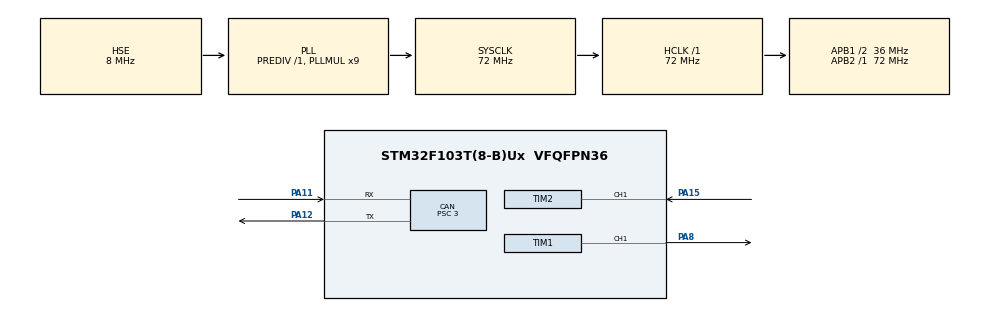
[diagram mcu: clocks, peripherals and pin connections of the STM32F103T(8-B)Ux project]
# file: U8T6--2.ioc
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CAN.BS1=CAN_BS1_8TQ
CAN.BS2=CAN_BS2_3TQ
CAN.CalculateBaudRate=999999
CAN.CalculateTimeBit=1000
CAN.CalculateTimeQuantum=83.33333333333334
CAN.Prescaler=3
Mcu.Family=STM32F1
Mcu.Name=STM32F103T(8-B)Ux
Mcu.Package=VFQFPN36
NVIC.CAN1_RX1_IRQn=true\:2\:0\:true\:false\:true\:true\:true\:true
NVIC.CAN1_SCE_IRQn=true\:3\:0\:true\:false\:true\:true\:true\:true
NVIC.PriorityGroup=NVIC_PRIORITYGROUP_4
NVIC.TIM2_IRQn=true\:1\:0\:true\:false\:true\:true\:true\:true
NVIC.TIM3_IRQn=true\:1\:0\:true\:false\:true\:true\:true\:true
PA11.Mode=CAN_Activate
PA11.Signal=CAN_RX
PA12.Mode=CAN_Activate
PA12.Signal=CAN_TX
PA13.Mode=Serial_Wire
PA13.Signal=SYS_JTMS-SWDIO
PA14.Mode=Serial_Wire
PA14.Signal=SYS_JTCK-SWCLK
PA15.GPIO_PuPd=GPIO_PULLUP
PA15.Signal=S_TIM2_CH1_ETR
PA8.Signal=S_TIM1_CH1
PD0-OSC_IN.Mode=HSE-External-Oscillator
PD0-OSC_IN.Signal=RCC_OSC_IN
PD1-OSC_OUT.Mode=HSE-External-Oscillator
PD1-OSC_OUT.Signal=RCC_OSC_OUT
ProjectManager.HeapSize=0x200
ProjectManager.StackSize=0x400
ProjectManager.TargetToolchain=MDK-ARM V5.32
RCC.AHBFreq_Value=72000000
RCC.APB1CLKDivider=RCC_HCLK_DIV2
RCC.APB1Freq_Value=36000000
RCC.APB1TimFreq_Value=72000000
RCC.APB2Freq_Value=72000000
RCC.APB2TimFreq_Value=72000000
RCC.HCLKFreq_Value=72000000
RCC.PLLMUL=RCC_PLL_MUL9
RCC.PLLSourceVirtual=RCC_PLLSOURCE_HSE
RCC.SYSCLKFreq_VALUE=72000000
RCC.SYSCLKSource=RCC_SYSCLKSOURCE_PLLCLK
RCC.USBFreq_Value=72000000
SH.S_TIM1_CH1.0=TIM1_CH1,PWM Generation1 CH1
SH.S_TIM2_CH1_ETR.0=TIM2_CH1,Input_Capture1_from_TI1
TIM1.AutoReloadPreload=TIM_AUTORELOAD_PRELOAD_ENABLE
TIM1.Channel-PWM\ Generation1\ CH1=TIM_CHANNEL_1
TIM1.Period=1894
TIM1.Pulse-PWM\ Generation1\ CH1=947
TIM2.Channel-Input_Capture1_from_TI1=TIM_CHANNEL_1
TIM2.Prescaler=71
TIM3.AutoReloadPreload=TIM_AUTORELOAD_PRELOAD_ENABLE
TIM3.Period=1000
TIM3.Prescaler=71
VP_TIM1_VS_ClockSourceINT.Mode=Internal
VP_TIM2_VS_ClockSourceINT.Mode=Internal
VP_TIM3_VS_ClockSourceINT.Mode=Internal
board=custom

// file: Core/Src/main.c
/* USER CODE BEGIN Header */
/**
  ******************************************************************************
  * @file           : main.c
  * @brief          : Main program body
  ******************************************************************************
  * @attention
  *
  * Copyright (c) 2026 STMicroelectronics.
  * All rights reserved.
  *
  * This software is licensed under terms that can be found in the LICENSE file
  * in the root directory of this software component.
  * If no LICENSE file comes with this software, it is provided AS-IS.
  *
  ******************************************************************************
  */
/* USER CODE END Header */
#include "main.h"
#include "can.h"
#include "tim.h"
#include "gpio.h"

/* USER CODE BEGIN Includes */
#include "infrared.h"
#include "can.h"
#include <string.h>
/* USER CODE END Includes */

/* USER CODE BEGIN PV */
// 外部声明CAN接收环形队列
#define CAN_RX_QUEUE_SIZE  4
typedef struct {
    uint32_t can_id;
    uint8_t  data[8];
    uint8_t  dlc;
} CanRxSlot_t;

extern volatile CanRxSlot_t can_rx_queue[CAN_RX_QUEUE_SIZE];
extern volatile uint8_t can_rx_head;
extern volatile uint8_t can_rx_tail;
extern volatile uint8_t can_rx_count;

// ===== 运行时模块ID（可通过CMD_SET_ID远程配置） =====
volatile uint8_t my_module_id = IR_MODULE_ID;  // 默认取infrared.h中的值

// ===== CAN→红外 发送队列（FIFO，防丢帧） =====
#define CAN_TO_IR_QUEUE_SIZE  4
typedef struct {
    uint8_t data[8];
    uint8_t valid;
} CanToIrSlot_t;
CanToIrSlot_t can_to_ir_queue[CAN_TO_IR_QUEUE_SIZE];
volatile uint8_t can_to_ir_head = 0;
volatile uint8_t can_to_ir_tail = 0;
volatile uint8_t can_to_ir_count = 0;

// ===== 红外→CAN 转发队列（FIFO，防丢帧） =====
#define IR_TO_CAN_QUEUE_SIZE   4
typedef struct {
    uint32_t can_id;
    uint8_t  data[8];
    uint8_t  dlc;
    uint8_t  valid;
} IrToCanSlot_t;
IrToCanSlot_t ir_to_can_queue[IR_TO_CAN_QUEUE_SIZE];
volatile uint8_t ir_to_can_head = 0;
volatile uint8_t ir_to_can_tail = 0;
volatile uint8_t ir_to_can_count = 0;

// ===== CAN多模块错峰参数 =====
// 按模块ID低位顺序延迟响应，避免多模块同时抢占总线(hal_delay)
// 0x10→0ms, 0x11→3ms, 0x12→6ms ...
#define IR_CAN_STAGGER_BASE_MS  3

// ===== 调试计数器 =====
volatile uint32_t dbg_can_cmd_received = 0;
volatile uint32_t dbg_can_data_received = 0;
volatile uint32_t dbg_ir_tx_from_can = 0;
volatile uint32_t dbg_ir_rx_data = 0;
volatile uint32_t dbg_ir_rx_ack = 0;
volatile uint32_t dbg_can_data_sent = 0;
volatile uint32_t dbg_can_ack_sent = 0;

// ===== 可靠发送状态机（非阻塞，用于 RELIABLE_DATA 帧） =====
#define IR_RELIABLE_MAX_RETRY   2       // 红外重传次数
#define IR_RELIABLE_ACK_TIMEOUT 100    // 等待红外ACK超时(ms)

typedef enum {
    IR_RELIABLE_IDLE = 0,       // 空闲
    IR_RELIABLE_SENDING,        // 红外正在发送
    IR_RELIABLE_WAIT_ACK,       // 等待红外ACK
    IR_RELIABLE_RETRY_WAIT,     // 重试间隔等待
} IR_Reliable_State_t;

typedef struct {
    IR_Reliable_State_t state;
    uint8_t  data[8];              // 待发送数据
    uint8_t  retry_count;          // 已重试次数
    uint32_t state_enter_time;     // 进入当前状态的时间
} IR_Reliable_Context_t;

IR_Reliable_Context_t ir_reliable = {0};
/* USER CODE END PV */

void SystemClock_Config(void);

int main(void)
{

  /* MCU Configuration--------------------------------------------------------*/

  /* Reset of all peripherals, Initializes the Flash interface and the Systick. */
  HAL_Init();

  /* Configure the system clock */
  SystemClock_Config();

  /* Initialize all configured peripherals */
  MX_GPIO_Init();
  MX_TIM2_Init();
  MX_TIM3_Init();
  MX_TIM1_Init();
  MX_CAN_Init();
  /* USER CODE BEGIN 2 */
  IR_Init();
  /* USER CODE END 2 */

  /* Infinite loop */
  /* USER CODE BEGIN WHILE */
// ===== 下位机 main loop =====
// 协议说明（CAN ID编码方案C）：
//   CAN ID = (type<<8) | module_id,  type: 1=CMD / 2=DATA / 3=ACK
//   CMD帧  ID=0x1[module_id]: [模块ID(1B)][命令码(1B)][数据×6] → 下位机回复ACK
//   DATA帧 ID=0x2[module_id]: [数据×8] 纯数据              → 下位机转发到红外(9B含CRC)
//   ACK帧  ID=0x3[module_id]: [0xA5][0xA5]                → 上位机确认收到
//   IR数据帧: [8B数据][1B CRC] = 9B(72bit)               → 下位机转发到CAN

while (1)
{
    IR_CheckRxTimeout();

    // ====================================================================
    //  第1步: CAN接收 → 处理/入队（不阻塞，不丢帧）
    // ====================================================================
    if (can_rx_count > 0)
    {
        volatile CanRxSlot_t *slot = &can_rx_queue[can_rx_tail];

        if (IR_HOST_IS_CMD_FRAME(slot->can_id) && slot->dlc >= 2)
        {
            uint8_t rx_module_id = IR_HOST_CAN_ID_GET_MODULE(slot->can_id);

            // 匹配自身ID 或 广播ID(0x00) 都响应
            if (rx_module_id == my_module_id || rx_module_id == 0x00)
            {
                // ★ 错峰：按模块ID延迟响应，避免多模块同时抢占总线
                HAL_Delay((my_module_id & 0x0F) * IR_CAN_STAGGER_BASE_MS);

                uint8_t cmd = slot->data[1];
                dbg_can_cmd_received++;

                if (cmd == IR_HOST_CMD_PING || cmd == IR_HOST_CMD_READ_STATUS)
                {
                    CAN_SendFrame(IR_HOST_CAN_ID_ACK(my_module_id),
                                  (uint8_t[]){IR_ACK_MAGIC, IR_ACK_MAGIC}, 2);
                    dbg_can_ack_sent++;
                }
                else if (cmd == IR_HOST_CMD_RESET)
                {
                    IR_ResetBuffer();
                    CAN_SendFrame(IR_HOST_CAN_ID_ACK(my_module_id),
                                  (uint8_t[]){IR_ACK_MAGIC, IR_ACK_MAGIC}, 2);
                    dbg_can_ack_sent++;
                }
                else if (cmd == IR_HOST_CMD_SET_ID && slot->dlc >= 3)
                {
                    uint8_t new_id = slot->data[2];
                    if (new_id >= 0x01 && new_id <= 0xFE)
                    {
                        my_module_id = new_id;
                    }
                    CAN_SendFrame(IR_HOST_CAN_ID_ACK(my_module_id),
                                  (uint8_t[]){IR_ACK_MAGIC, IR_ACK_MAGIC}, 2);
                    dbg_can_ack_sent++;
                }
            }
        }
        else if (IR_HOST_IS_DATA_FRAME(slot->can_id) && slot->dlc >= 1)
        {
            uint8_t rx_module_id = IR_HOST_CAN_ID_GET_MODULE(slot->can_id);

            // DATA帧 → 单播或广播(0x00)都接受，回CAN ACK + 入队等红外空闲时转发
            if ((rx_module_id == my_module_id || rx_module_id == 0x00) && can_to_ir_count < CAN_TO_IR_QUEUE_SIZE)
            {
                // ★ 错峰：按模块ID延迟响应ACK，避免多模块同时抢占总线
                HAL_Delay((my_module_id & 0x0F) * IR_CAN_STAGGER_BASE_MS);

                // 先回CAN ACK，告诉上位机已收到
                CAN_SendFrame(IR_HOST_CAN_ID_ACK(my_module_id),
                              (uint8_t[]){IR_ACK_MAGIC, IR_ACK_MAGIC}, 2);
                dbg_can_ack_sent++;

                CanToIrSlot_t *ir_slot = &can_to_ir_queue[can_to_ir_head];
                memset(ir_slot->data, 0, 8);
                memcpy(ir_slot->data, (const void *)slot->data, slot->dlc > 8 ? 8 : slot->dlc);
                ir_slot->valid = 1;
                can_to_ir_head = (can_to_ir_head + 1) % CAN_TO_IR_QUEUE_SIZE;
                can_to_ir_count++;
                dbg_can_data_received++;
            }
        }
        else if (IR_HOST_IS_RELIABLE_DATA_FRAME(slot->can_id) && slot->dlc >= 1)
        {
            uint8_t rx_module_id = IR_HOST_CAN_ID_GET_MODULE(slot->can_id);

            // RELIABLE_DATA帧 → 不立即回CAN ACK，等红外投递成功后再回
            if ((rx_module_id == my_module_id || rx_module_id == 0x00) &&
                ir_reliable.state == IR_RELIABLE_IDLE)
            {
                // ★ 错峰延迟
                HAL_Delay((my_module_id & 0x0F) * IR_CAN_STAGGER_BASE_MS);

                // 保存数据，启动可靠发送状态机
                memset(ir_reliable.data, 0, 8);
                memcpy(ir_reliable.data, (const void *)slot->data, slot->dlc > 8 ? 8 : slot->dlc);
                ir_reliable.retry_count = 0;
                ir_reliable.state = IR_RELIABLE_SENDING;
                ir_reliable.state_enter_time = HAL_GetTick();
                dbg_can_data_received++;
            }
        }

        // 出队（关中断保护，防止ISR的count++被覆盖）
        __disable_irq();
        can_rx_tail = (can_rx_tail + 1) % CAN_RX_QUEUE_SIZE;
        can_rx_count--;
        __enable_irq();
    }

    // ====================================================================
    //  第2步: CAN→红外 出队发送（红外空闲时才发）
    // ====================================================================
    if (can_to_ir_count > 0 && !IR_IsTXBusy())
    {
        CanToIrSlot_t *slot = &can_to_ir_queue[can_to_ir_tail];
        if (slot->valid)
        {
            if (IR_SendData(slot->data, 8))
            {
                slot->valid = 0;
                can_to_ir_tail = (can_to_ir_tail + 1) % CAN_TO_IR_QUEUE_SIZE;
                can_to_ir_count--;
                dbg_ir_tx_from_can++;
            }
        }
    }

    // ====================================================================
    //  第2.5步: 可靠发送状态机（非阻塞，用于 RELIABLE_DATA 帧）
    //  流程: 发红外 → 等ACK → 成功回CAN ACK / 失败重试 → 超限回CAN NACK
    // ====================================================================
    switch (ir_reliable.state)
    {
        case IR_RELIABLE_IDLE:
            break;

        case IR_RELIABLE_SENDING:
            // 尝试发送红外
            if (!IR_IsTXBusy())
            {
                // 清除之前的ACK标志
                ir_ack_received_flag = 0;
                ir_ack_status = 0;

                if (IR_SendData(ir_reliable.data, 8))
                {
                    ir_reliable.state = IR_RELIABLE_WAIT_ACK;
                    ir_reliable.state_enter_time = HAL_GetTick();
                    dbg_ir_tx_from_can++;
                }
            }
            break;

        case IR_RELIABLE_WAIT_ACK:
            // 检查红外ACK
            if (ir_ack_received_flag)
            {
                ir_ack_received_flag = 0;
                if (ir_ack_status == 1)
                {
                    // 红外ACK → 回CAN ACK，投递成功
                    CAN_SendFrame(IR_HOST_CAN_ID_ACK(my_module_id),
                                  (uint8_t[]){IR_ACK_MAGIC, IR_ACK_MAGIC}, 2);
                    dbg_can_ack_sent++;
                    ir_reliable.state = IR_RELIABLE_IDLE;
                }
                else
                {
                    // 红外NACK → 重试
                    ir_reliable.retry_count++;
                    if (ir_reliable.retry_count <= IR_RELIABLE_MAX_RETRY)
                    {
                        ir_reliable.state = IR_RELIABLE_RETRY_WAIT;
                        ir_reliable.state_enter_time = HAL_GetTick();
                    }
                    else
                    {
                        // 重试耗尽 → 回CAN NACK
                        CAN_SendFrame(IR_HOST_CAN_ID_ACK(my_module_id),
                                      (uint8_t[]){IR_NACK_MAGIC, IR_NACK_MAGIC}, 2);
                        dbg_can_ack_sent++;
                        ir_reliable.state = IR_RELIABLE_IDLE;
                    }
                }
            }
            else
            {
                // 超时检查
                if ((HAL_GetTick() - ir_reliable.state_enter_time) >= IR_RELIABLE_ACK_TIMEOUT)
                {
                    ir_reliable.retry_count++;
                    if (ir_reliable.retry_count <= IR_RELIABLE_MAX_RETRY)
                    {
                        ir_reliable.state = IR_RELIABLE_RETRY_WAIT;
                        ir_reliable.state_enter_time = HAL_GetTick();
                    }
                    else
                    {
                        // 重试耗尽 → 回CAN NACK
                        CAN_SendFrame(IR_HOST_CAN_ID_ACK(my_module_id),
                                      (uint8_t[]){IR_NACK_MAGIC, IR_NACK_MAGIC}, 2);
                        dbg_can_ack_sent++;
                        ir_reliable.state = IR_RELIABLE_IDLE;
                    }
                }
            }
            break;

        case IR_RELIABLE_RETRY_WAIT:
            // 重试间隔10ms
            if ((HAL_GetTick() - ir_reliable.state_enter_time) >= 10)
            {
                ir_reliable.state = IR_RELIABLE_SENDING;
                ir_reliable.state_enter_time = HAL_GetTick();
            }
            break;
    }

    // ====================================================================
    //  第3步: 红外接收 → 入队（不阻塞，不丢帧）
    // ====================================================================

    // 红外收到数据帧 → 回红外ACK + 数据入队等CAN转发
    if (ir_rx_complete_flag)
    {
        ir_rx_complete_flag = 0;
        dbg_ir_rx_data++;

        uint8_t calculated_crc = IR_CRC8(received_data, 8);
        if (calculated_crc == received_data[8])
        {
            IR_SendDataAck_NonBlocking(1);

            if (ir_to_can_count < IR_TO_CAN_QUEUE_SIZE)
            {
                IrToCanSlot_t *slot = &ir_to_can_queue[ir_to_can_head];
                slot->can_id = IR_HOST_CAN_ID_DATA(my_module_id);
                memcpy(slot->data, received_data, 8);
                slot->dlc = 8;
                slot->valid = 1;
                ir_to_can_head = (ir_to_can_head + 1) % IR_TO_CAN_QUEUE_SIZE;
                ir_to_can_count++;
            }
        }
        else
        {
            IR_SendDataAck_NonBlocking(2);
        }
    }

    // 红外收到ACK/NACK → 入队等CAN转发
    if (ir_ack_received_flag)
    {
        ir_ack_received_flag = 0;
        dbg_ir_rx_ack++;

        if (ir_to_can_count < IR_TO_CAN_QUEUE_SIZE)
        {
            IrToCanSlot_t *slot = &ir_to_can_queue[ir_to_can_head];
            slot->can_id = IR_HOST_CAN_ID_ACK(my_module_id);
            if (ir_ack_status == 1)
            {
                uint8_t ack_data[2] = {IR_ACK_MAGIC, IR_ACK_MAGIC};
                memcpy(slot->data, ack_data, 2);
                slot->dlc = 2;
            }
            else
            {
                uint8_t nack_data[2] = {IR_NACK_MAGIC, IR_NACK_MAGIC};
                memcpy(slot->data, nack_data, 2);
                slot->dlc = 2;
            }
            slot->valid = 1;
            ir_to_can_head = (ir_to_can_head + 1) % IR_TO_CAN_QUEUE_SIZE;
            ir_to_can_count++;
        }
    }

    // ====================================================================
    //  第4步: 红外→CAN 出队转发
    // ====================================================================
    if (ir_to_can_count > 0)
    {
        IrToCanSlot_t *slot = &ir_to_can_queue[ir_to_can_tail];
        if (slot->valid)
        {
            // ★ 错峰：数据转发也按模块ID延迟，避免多模块同时发送DATA帧
            HAL_Delay((my_module_id & 0x0F) * IR_CAN_STAGGER_BASE_MS);
            CAN_SendFrame(slot->can_id, slot->data, slot->dlc);
            slot->valid = 0;
            ir_to_can_tail = (ir_to_can_tail + 1) % IR_TO_CAN_QUEUE_SIZE;
            ir_to_can_count--;
            if (IR_HOST_IS_DATA_FRAME(slot->can_id)) dbg_can_data_sent++;
            else dbg_can_ack_sent++;
        }
    }
}
/* USER CODE END 3 */
}

void SystemClock_Config(void)
{
  RCC_OscInitTypeDef RCC_OscInitStruct = {0};
  RCC_ClkInitTypeDef RCC_ClkInitStruct = {0};

  /** Initializes the RCC Oscillators according to the specified parameters
  * in the RCC_OscInitTypeDef structure.
  */
  RCC_OscInitStruct.OscillatorType = RCC_OSCILLATORTYPE_HSE;
  RCC_OscInitStruct.HSEState = RCC_HSE_ON;
  RCC_OscInitStruct.HSEPredivValue = RCC_HSE_PREDIV_DIV1;
  RCC_OscInitStruct.HSIState = RCC_HSI_ON;
  RCC_OscInitStruct.PLL.PLLState = RCC_PLL_ON;
  RCC_OscInitStruct.PLL.PLLSource = RCC_PLLSOURCE_HSE;
  RCC_OscInitStruct.PLL.PLLMUL = RCC_PLL_MUL9;
  if (HAL_RCC_OscConfig(&RCC_OscInitStruct) != HAL_OK)
  {
    Error_Handler();
  }

  /** Initializes the CPU, AHB and APB buses clocks
  */
  RCC_ClkInitStruct.ClockType = RCC_CLOCKTYPE_HCLK|RCC_CLOCKTYPE_SYSCLK
                              |RCC_CLOCKTYPE_PCLK1|RCC_CLOCKTYPE_PCLK2;
  RCC_ClkInitStruct.SYSCLKSource = RCC_SYSCLKSOURCE_PLLCLK;
  RCC_ClkInitStruct.AHBCLKDivider = RCC_SYSCLK_DIV1;
  RCC_ClkInitStruct.APB1CLKDivider = RCC_HCLK_DIV2;
  RCC_ClkInitStruct.APB2CLKDivider = RCC_HCLK_DIV1;

  if (HAL_RCC_ClockConfig(&RCC_ClkInitStruct, FLASH_LATENCY_2) != HAL_OK)
  {
    Error_Handler();
  }
}

void Error_Handler(void)
{
  __disable_irq();
  while (1)
  {
  }
}
